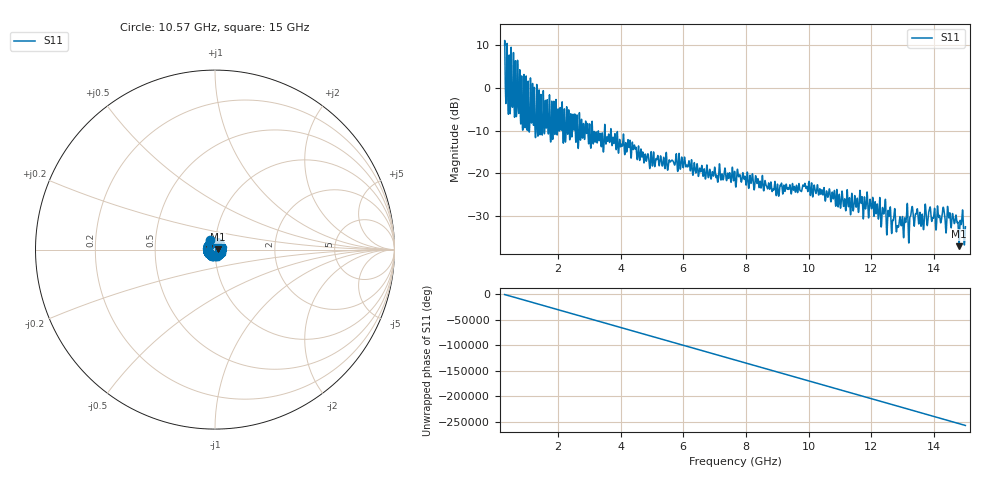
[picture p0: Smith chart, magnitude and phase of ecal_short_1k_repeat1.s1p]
# GHZ S RI R 50.0
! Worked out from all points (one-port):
!   12801 points, 300 MHz to 15 GHz, reference 50 ohm
!   lowest |S11| = -37.0 dB at 14.8 GHz (marker M1), VSWR 1.03, Z = 51.4 + j0.0767 ohm
!   |S11| at or under -10 dB: 3.103 GHz to 3.484 GHz (381.8 MHz wide, 11.6 % of centre); 3.506 GHz to 3.683 GHz (177.7 MHz wide, 4.94 % of centre); 3.698 GHz to end of sweep (the widest 3 of 28)
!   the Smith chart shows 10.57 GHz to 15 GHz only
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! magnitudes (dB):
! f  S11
! 300 MHz  9.9
! 406.8 MHz  -3.6
! 715.7 MHz  6.0
! 883.4 MHz  -9.8
! 1.026 GHz  -9.8
! 1.185 GHz  -0.9
! 1.323 GHz  0.6
! 2.138 GHz  -3.4
! 3.975 GHz  -12.3
! 4.431 GHz  -13.6
! 4.965 GHz  -15.7
! 5.812 GHz  -19.2
! 7.65 GHz  -20.7
! 9.01 GHz  -22.7
! 9.488 GHz  -22.4
! 10.23 GHz  -24.7
! 11.32 GHz  -28.9
! 12 GHz  -28.3
! 12.84 GHz  -32.3
! 13.16 GHz  -29.5
! 13.29 GHz  -28.2
! 13.63 GHz  -29.6
! 13.77 GHz  -32.1
! 14.29 GHz  -28.0
! 14.65 GHz  -31.7
! 14.8 GHz  -37.0
! 14.88 GHz  -31.0
! 15 GHz  -32.5
